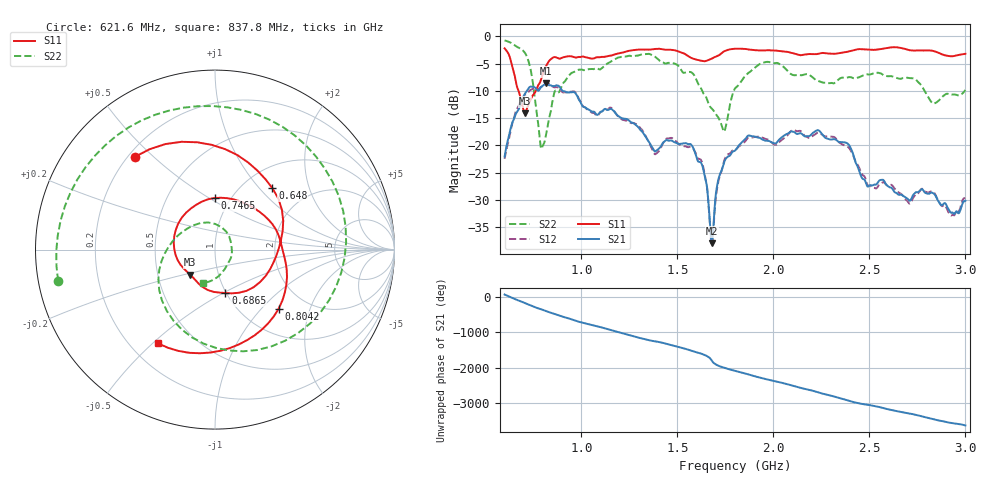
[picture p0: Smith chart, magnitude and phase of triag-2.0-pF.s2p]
#  HZ  S  RI  R  50.00
! Rohde & Schwarz ZVB8 2Ports - Version 2.81 - 1145.1010k08 SN: 100113
! Date: 2016-03-12 01:47:51
! Measurements: S11 S21 S12 S22
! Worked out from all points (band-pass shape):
!   1000 points, 600 MHz to 3 GHz, reference 50 ohm
!   highest |S21| = -8.60 dB at 816.2 MHz (marker M1); lowest = -37.9 dB at 1.679 GHz (marker M2)
!   |S21| within 3 dB of the highest: 693.1 MHz to 986.8 MHz (293.7 MHz wide, 35 % of centre)
!   lowest |S11| = -14.1 dB at 705.7 MHz (marker M3), VSWR 1.49, Z = 36.5 - j10.6 ohm
!   |S11| at or under -10 dB: 672.6 MHz to 762.7 MHz (90.06 MHz wide, 12.5 % of centre)
!   |S22| runs from -20.6 to -0.8 dB; largest |S21 - S12| = 0.031
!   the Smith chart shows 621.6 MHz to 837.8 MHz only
!   S11 on the Smith chart (normalised r, x): 621.6 MHz: 0.23, +0.44; 648 MHz: 1.34, +1.18; 686.5 MHz: 0.99, -0.51; 746.5 MHz: 0.85, +0.53; 804.2 MHz: 1.46, -1.25; 837.8 MHz: 0.31, -0.52
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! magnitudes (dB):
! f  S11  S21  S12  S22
! 600 MHz  -2.2  -22.0  -22.5  -0.8
! 621.6 MHz  -3.3  -18.4  -19.0  -1.0
! 648 MHz  -6.6  -15.2  -15.1  -1.5
! 686.5 MHz  -12.1  -12.1  -11.6  -2.4
! 705.7 MHz  -14.1  -10.5  -10.7  -3.0
! 746.5 MHz  -10.8  -9.2  -9.6  -8.3
! 785 MHz  -8.4  -9.5  -9.4  -19.4
! 804.2 MHz  -6.3  -8.9  -8.7  -19.7
! 816.2 MHz  -5.4  -8.6  -8.3  -17.9
! 837.8 MHz  -4.3  -9.0  -8.8  -14.1
! 1.001 GHz  -3.7  -12.5  -12.4  -6.1
! 1.4 GHz  -2.3  -20.7  -21.2  -4.2
! 1.585 GHz  -4.1  -20.6  -20.7  -7.0
! 1.64 GHz  -4.6  -25.2  -25.0  -10.7
! 1.679 GHz  -4.1  -37.9  -38.4  -13.2
! 1.744 GHz  -2.7  -23.0  -22.8  -17.5
! 1.801 GHz  -2.3  -20.9  -20.8  -9.5
! 1.96 GHz  -2.6  -19.1  -18.8  -4.7
! 2.2 GHz  -3.3  -17.9  -18.4  -7.4
! 2.601 GHz  -2.1  -27.6  -27.3  -7.3
! 2.93 GHz  -3.6  -32.3  -32.7  -10.7
! 3 GHz  -3.2  -30.1  -29.6  -9.8
